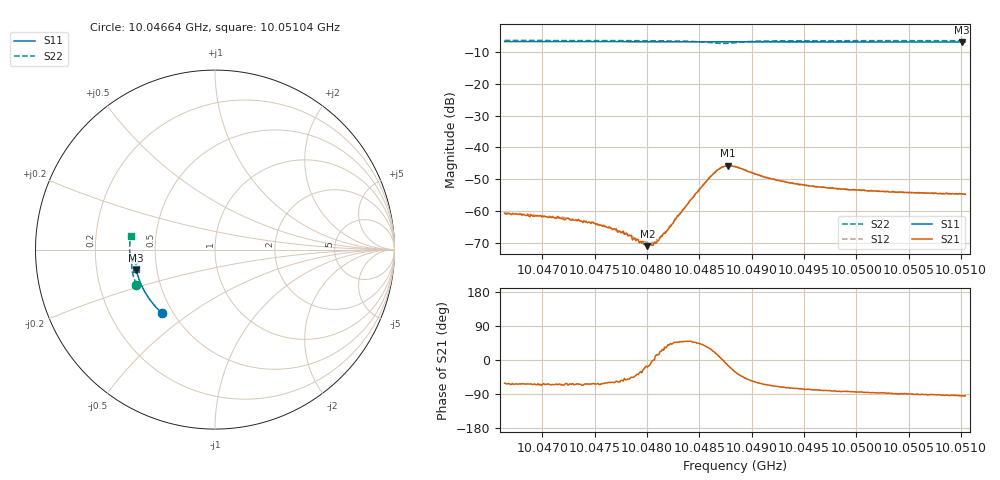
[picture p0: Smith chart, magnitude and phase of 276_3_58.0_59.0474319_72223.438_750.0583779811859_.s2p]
#  HZ  S  RI  R  50.00
! Rohde & Schwarz Vector Network Analyzer
! Rohde-Schwarz,ZNB20-2Port,1311601062101988,3.16
! Created: UTC 3/21/2024, 1:02:41 AM
! freq[Hz]  re:S11  im:S11  re:S21  im:S21  re:S12  im:S12  re:S22  im:S22
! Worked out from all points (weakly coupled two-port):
!   401 points, 10.04664 GHz to 10.05104 GHz, reference 50 ohm
!   highest |S21| = -45.76 dB at 10.04877 GHz (marker M1); lowest = -71.1 dB at 10.048 GHz (marker M2)
!   lowest |S11| = -6.9 dB at 10.05101 GHz (marker M3), VSWR 2.66, Z = 19.1 - j5.42 ohm
!   |S11| at or under -10 dB: nowhere
!   |S22| runs from -7.3 to -6.4 dB; largest |S21 - S12| = 0.00037
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1.0046639e10  -0.2933 -0.3554  0.000442 -0.000807  0.000493 -0.000783  -0.438 -0.1952
1.0047189e10  -0.3197 -0.3302  0.000324 -0.000679  0.000419 -0.000679  -0.4509 -0.1601
1.0047376e10  -0.3282 -0.3213  0.000277 -0.000636  0.00036 -0.000596  -0.4546 -0.1475
1.0047497e10  -0.3336 -0.3155  0.000285 -0.000566  0.000313 -0.000551  -0.4567 -0.1393
1.004763e10  -0.3393 -0.3089  0.000275 -0.000467  0.000329 -0.000468  -0.4591 -0.1304
1.0047685e10  -0.3417 -0.3061  0.000263 -0.000454  0.00032 -0.000429  -0.4598 -0.1263
1.0047817e10  -0.3472 -0.2994  0.00026 -0.000308  0.000288 -0.000307  -0.4618 -0.1167
1.0047927e10  -0.3516 -0.2936  0.000261 -0.000173  0.000286 -0.000195  -0.463 -0.1086
1.0048004e10  -0.3547 -0.2894  0.000264 -8.96e-05  0.000311 -6.26e-05  -0.4636 -0.1026
1.0048059e10  -0.357 -0.2867  0.000287 -2.14e-06  0.000294 -7.49e-06  -0.4641 -0.0983
1.0048114e10  -0.3593 -0.2839  0.000339 9.18e-05  0.000341 0.000153  -0.4644 -0.0936
1.004818e10  -0.3619 -0.2804  0.000395 0.000249  0.000349 0.000296  -0.4642 -0.088
1.0048323e10  -0.3672 -0.2726  0.000619 0.000691  0.000592 0.000743  -0.4629 -0.0749
1.0048598e10  -0.3772 -0.2574  0.00287 0.00168  0.0028 0.0019  -0.442 -0.051
1.0048697e10  -0.3804 -0.2519  0.00462 0.000559  0.00462 0.000862  -0.4273 -0.058
1.0048774e10  -0.383 -0.2477  0.00498 -0.00133  0.00509 -0.00102  -0.4274 -0.0716
1.004884e10  -0.3854 -0.2442  0.00424 -0.00259  0.00447 -0.0023  -0.4363 -0.0786
1.0049148e10  -0.3957 -0.2267  0.00137 -0.00301  0.00158 -0.00297  -0.4665 -0.0587
1.0049577e10  -0.4084 -0.2013  0.000483 -0.00239  0.000638 -0.00238  -0.4746 -0.0234
1.0050315e10  -0.4264 -0.1564  6.56e-05 -0.00197  0.000205 -0.00199  -0.4749 0.0292
1.0051008e10  -0.4388 -0.1129  -0.000142 -0.00185  -5.17e-05 -0.00186  -0.4695 0.0757
1.0051041e10  -0.4395 -0.1106  -0.000139 -0.00181  -1.9e-05 -0.00184  -0.4691 0.0779
